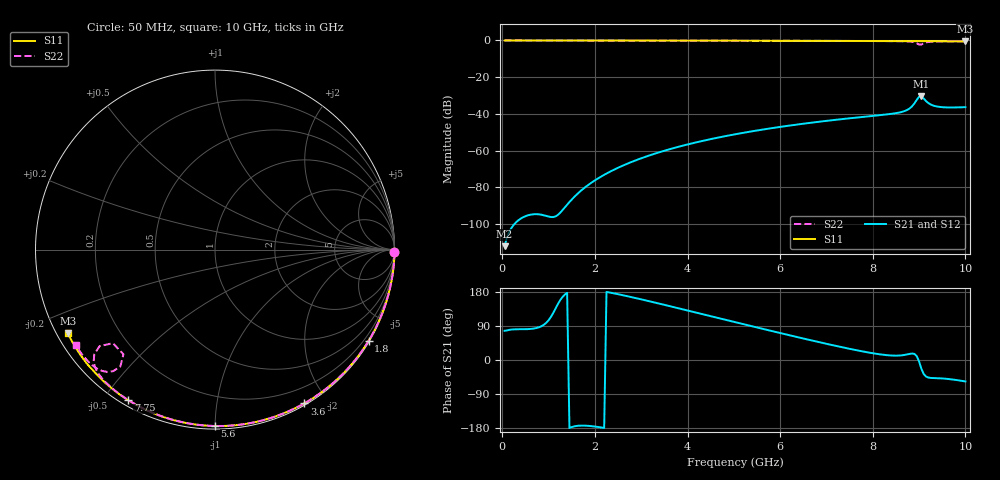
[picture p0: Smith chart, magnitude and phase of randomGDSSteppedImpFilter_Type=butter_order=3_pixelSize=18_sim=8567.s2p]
! freq	dB(S11)	phase(S11)	dB(S12)	phase(S12)
!  dB(S21)	phase(S21)	dB(S22)	phase(S22)
!S-par simulation data
#  GHz  S  DB  R 50
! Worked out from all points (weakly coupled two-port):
!   200 points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, 50 MHz to 10 GHz, reference 50 ohm
!   highest |S21| = -30.46 dB at 9.05 GHz (marker M1); lowest = -112.0 dB at 50 MHz (marker M2)
!   lowest |S11| = -0.5 dB at 10 GHz (marker M3), VSWR 34.35, Z = 1.56 - j13.2 ohm
!   |S11| at or under -10 dB: nowhere
!   |S22| runs from -2.3 to 0.0 dB; largest |S21 - S12| = 0
!   S11 on the Smith chart (normalised r, x): 50 MHz: open; 1.8 GHz: 0.03, -3.64; 3.6 GHz: 0.02, -1.74; 5.6 GHz: 0.02, -1.00; 7.75 GHz: 0.02, -0.58; 10 GHz: 0.03, -0.26
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0.05  -0.00 -0.9  -112.02 77.2  -112.02 77.2  -0.00 -0.9
0.9  -0.02 -15.5  -95.21 93.2  -95.21 93.2  -0.02 -15.3
1.75  -0.04 -29.9  -80.73 -173.1  -80.73 -173.1  -0.04 -29.5
1.8  -0.04 -30.7  -79.73 -173.3  -79.73 -173.3  -0.04 -30.3
2.1  -0.05 -35.7  -74.62 -177.3  -74.62 -177.3  -0.04 -35.2
2.5  -0.05 -42.3  -69.32 173.6  -69.32 173.6  -0.05 -41.7
3.4  -0.08 -56.7  -60.80 148.5  -60.80 148.5  -0.07 -56.0
3.6  -0.08 -59.9  -59.31 142.6  -59.31 142.6  -0.08 -59.1
5.05  -0.13 -81.9  -50.98 99.2  -50.98 99.2  -0.12 -80.9
5.6  -0.15 -90.0  -48.61 82.9  -48.61 82.9  -0.15 -88.8
6.7  -0.21 -105.5  -44.70 51.1  -44.70 51.1  -0.20 -104.1
7.75  -0.28 -119.9  -41.73 23.4  -41.73 23.4  -0.28 -118.5
8.35  -0.33 -128.0  -40.12 12.3  -40.12 12.3  -0.34 -127.2
8.75  -0.37 -133.4  -37.74 14.9  -37.74 14.9  -0.52 -134.6
8.9  -0.39 -135.4  -34.26 16.0  -34.26 16.0  -1.01 -139.1
9  -0.39 -136.7  -30.64 -4.1  -30.64 -4.1  -2.25 -137.5
9.05  -0.39 -137.4  -30.46 -23.2  -30.46 -23.2  -2.22 -131.2
9.15  -0.40 -138.8  -33.01 -43.6  -33.01 -43.6  -1.08 -129.9
9.25  -0.41 -140.2  -34.86 -47.3  -34.86 -47.3  -0.70 -132.8
9.35  -0.42 -141.5  -35.78 -47.9  -35.78 -47.9  -0.58 -135.2
9.6  -0.46 -144.9  -36.47 -49.7  -36.47 -49.7  -0.51 -139.7
10  -0.51 -150.4  -36.32 -56.6  -36.32 -56.6  -0.53 -145.6
